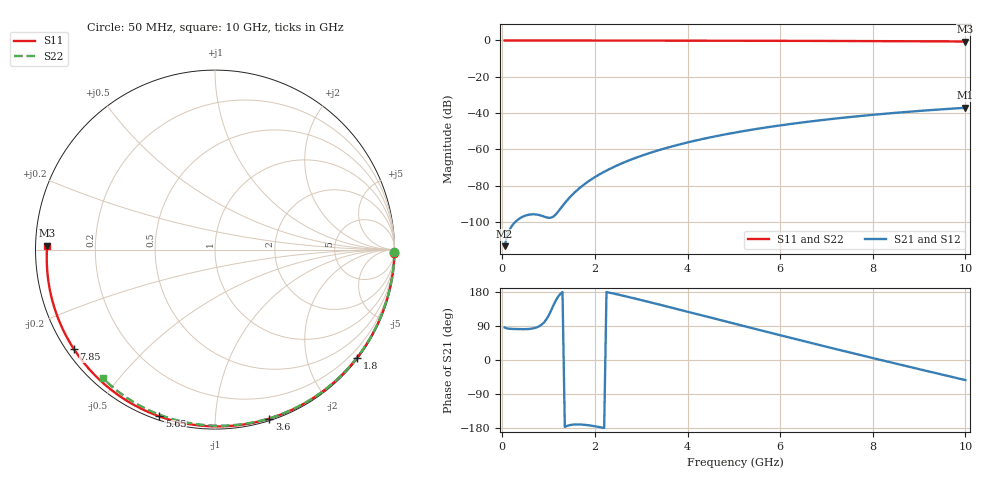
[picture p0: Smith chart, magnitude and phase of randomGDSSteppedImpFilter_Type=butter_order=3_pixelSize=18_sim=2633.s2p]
! freq	dB(S11)	phase(S11)	dB(S12)	phase(S12)
!  dB(S21)	phase(S21)	dB(S22)	phase(S22)
!S-par simulation data
#  GHz  S  DB  R 50
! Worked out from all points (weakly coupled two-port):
!   200 points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, 50 MHz to 10 GHz, reference 50 ohm
!   highest |S21| = -37.11 dB at 10 GHz (marker M1); lowest = -113.4 dB at 50 MHz (marker M2)
!   lowest |S11| = -0.6 dB at 10 GHz (marker M3), VSWR 29.87, Z = 1.67 + j0.601 ohm
!   |S11| at or under -10 dB: nowhere
!   |S22| runs from -0.4 to 0.0 dB; largest |S21 - S12| = 0
!   S11 on the Smith chart (normalised r, x): 50 MHz: open; 1.8 GHz: 0.03, -2.97; 3.6 GHz: 0.02, -1.37; 5.65 GHz: 0.02, -0.72; 7.85 GHz: 0.02, -0.32; 10 GHz: 0.03, +0.01
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0.05  -0.00 -1.1  -113.41 85.8  -113.41 85.8  -0.00 -0.8
0.45  -0.01 -9.5  -97.06 81.3  -97.06 81.3  -0.01 -6.8
0.85  -0.02 -17.8  -96.62 93.4  -96.62 93.4  -0.02 -12.8
1.25  -0.03 -26.1  -92.90 174.0  -92.90 174.0  -0.02 -18.8
1.7  -0.04 -35.2  -80.72 -170.3  -80.72 -170.3  -0.03 -25.4
1.75  -0.05 -36.2  -79.71 -170.7  -79.71 -170.7  -0.03 -26.1
1.8  -0.05 -37.2  -78.76 -171.3  -78.76 -171.3  -0.03 -26.9
2.1  -0.06 -43.2  -73.81 -177.0  -73.81 -177.0  -0.04 -31.2
2.5  -0.07 -51.1  -68.66 172.7  -68.66 172.7  -0.05 -37.0
2.9  -0.08 -58.9  -64.53 161.2  -64.53 161.2  -0.06 -42.7
3.4  -0.09 -68.4  -60.32 146.1  -60.32 146.1  -0.07 -49.8
3.6  -0.10 -72.1  -58.86 139.9  -58.86 139.9  -0.07 -52.5
4.3  -0.12 -84.9  -54.45 118.1  -54.45 118.1  -0.09 -62.1
5.05  -0.15 -98.2  -50.67 94.7  -50.67 94.7  -0.11 -72.0
5.65  -0.18 -108.5  -48.14 76.1  -48.14 76.1  -0.13 -79.7
6.15  -0.21 -116.9  -46.30 60.8  -46.30 60.8  -0.15 -86.0
6.7  -0.24 -126.0  -44.50 44.0  -44.50 44.0  -0.18 -92.8
7.3  -0.29 -135.9  -42.77 25.9  -42.77 25.9  -0.21 -100.0
7.85  -0.34 -145.0  -41.36 9.5  -41.36 9.5  -0.25 -106.5
8.35  -0.39 -153.2  -40.20 -5.2  -40.20 -5.2  -0.29 -112.4
9.2  -0.48 -167.5  -38.48 -29.9  -38.48 -29.9  -0.36 -122.1
10  -0.58 178.6  -37.11 -53.0  -37.11 -53.0  -0.44 -131.1
